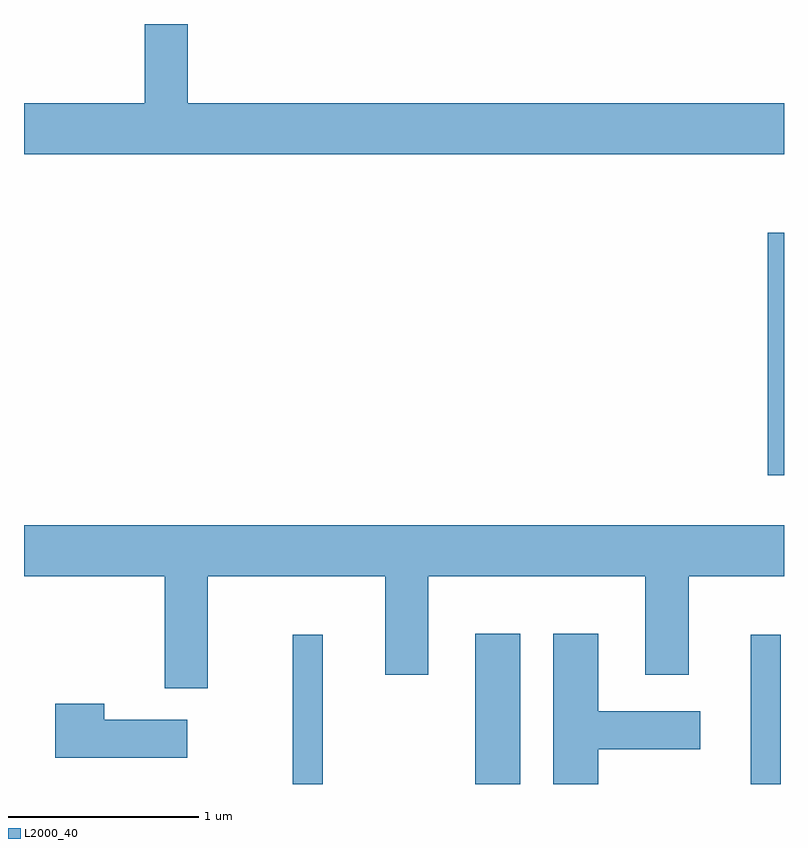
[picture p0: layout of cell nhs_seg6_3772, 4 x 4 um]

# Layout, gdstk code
import gdstk
lib = gdstk.Library(unit=1e-6, precision=1e-09)
def R(c, l, rs):  # rectangles x0, y0, x1, y1
    for r in rs: c.add(gdstk.rectangle(r[:2], r[2:], *l))
def P(c, l, *ps):  # polygons
    for p in ps: c.add(gdstk.Polygon(p, *l))
L2000_40 = (2000, 40)

nhs_seg6_3772 = lib.new_cell('nhs_seg6_3772')
R(nhs_seg6_3772, L2000_40, [(299.026,1662.162,299.184,1662.948), (299.986,1662.162,300.224,1662.954), (301.436,1662.162,301.594,1662.948), (301.526,1663.786,301.611,1665.064)])
P(nhs_seg6_3772, L2000_40, [(301.611,1665.744),(298.474,1665.744),(298.474,1666.162),(298.246,1666.162),(298.246,1665.744),(297.611,1665.744),(297.611,1665.476),(301.611,1665.476)],
  [(298.579,1663.256),(299.511,1663.256),(299.511,1662.736),(299.739,1662.736),(299.739,1663.256),(300.881,1663.256),(300.881,1662.736),(301.109,1662.736),(301.109,1663.256),(301.611,1663.256),(301.611,1663.524),(297.611,1663.524),(297.611,1663.256),(298.351,1663.256),(298.351,1662.666),(298.579,1662.666)],
  [(300.634,1662.346),(301.169,1662.346),(301.169,1662.544),(300.634,1662.544),(300.634,1662.954),(300.396,1662.954),(300.396,1662.162),(300.634,1662.162)],
  [(298.469,1662.499),(298.034,1662.499),(298.034,1662.584),(297.776,1662.584),(297.776,1662.301),(298.469,1662.301)])

lib.write_gds('nhs_seg6_3772.gds')
